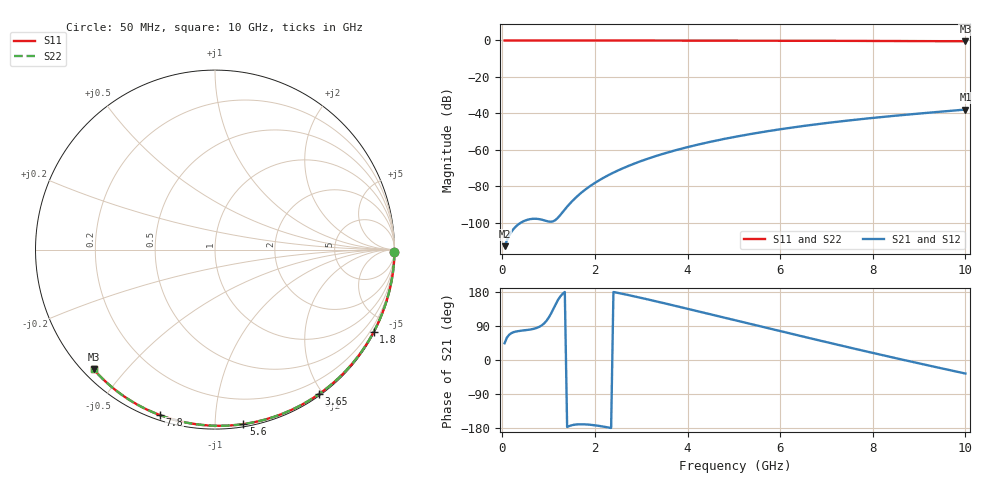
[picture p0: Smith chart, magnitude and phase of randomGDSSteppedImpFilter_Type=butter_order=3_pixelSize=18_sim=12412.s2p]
! freq	dB(S11)	phase(S11)	dB(S12)	phase(S12)
!  dB(S21)	phase(S21)	dB(S22)	phase(S22)
!S-par simulation data
#  GHz  S  DB  R 50
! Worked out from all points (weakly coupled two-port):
!   200 points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, 50 MHz to 10 GHz, reference 50 ohm
!   highest |S21| = -37.86 dB at 10 GHz (marker M1); lowest = -112.7 dB at 50 MHz (marker M2)
!   lowest |S11| = -0.4 dB at 10 GHz (marker M3), VSWR 38.68, Z = 1.51 - j20.5 ohm
!   |S11| at or under -10 dB: nowhere
!   |S22| runs from -0.4 to 0.0 dB; largest |S21 - S12| = 0
!   S11 on the Smith chart (normalised r, x): 50 MHz: open; 1.8 GHz: 0.04, -4.10; 3.65 GHz: 0.02, -1.95; 5.6 GHz: 0.02, -1.17; 7.8 GHz: 0.02, -0.72; 10 GHz: 0.03, -0.41
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0.05  -0.00 -0.8  -112.71 44.2  -112.71 44.2  -0.00 -0.8
0.85  -0.01 -13.1  -98.18 91.3  -98.18 91.3  -0.01 -13.1
1.75  -0.03 -26.7  -82.53 -169.7  -82.53 -169.7  -0.03 -26.7
1.8  -0.03 -27.4  -81.54 -169.9  -81.54 -169.9  -0.03 -27.4
1.85  -0.04 -28.2  -80.61 -170.4  -80.61 -170.4  -0.04 -28.2
1.9  -0.04 -28.9  -79.72 -170.9  -79.72 -170.9  -0.04 -28.9
2.05  -0.04 -31.1  -77.25 -173.2  -77.25 -173.2  -0.04 -31.2
2.25  -0.04 -34.1  -74.35 -177.1  -74.35 -177.1  -0.04 -34.1
2.45  -0.05 -37.1  -71.80 178.3  -71.80 178.3  -0.05 -37.1
2.65  -0.05 -40.0  -69.53 173.2  -69.53 173.2  -0.05 -40.0
3  -0.06 -45.1  -66.05 163.9  -66.05 163.9  -0.06 -45.1
3.4  -0.07 -50.8  -62.67 152.6  -62.67 152.6  -0.07 -50.8
3.65  -0.07 -54.3  -60.81 145.4  -60.81 145.4  -0.07 -54.4
4.3  -0.09 -63.4  -56.62 126.3  -56.62 126.3  -0.09 -63.4
5.05  -0.11 -73.5  -52.69 104.2  -52.69 104.2  -0.11 -73.6
5.6  -0.13 -80.8  -50.26 88.0  -50.26 88.0  -0.13 -80.8
6.15  -0.15 -87.9  -48.11 71.9  -48.11 71.9  -0.16 -87.9
6.7  -0.18 -94.9  -46.20 55.9  -46.20 55.9  -0.18 -94.9
7.8  -0.25 -108.4  -42.97 24.3  -42.97 24.3  -0.25 -108.5
8.35  -0.29 -115.1  -41.57 8.9  -41.57 8.9  -0.29 -115.1
9.2  -0.36 -125.4  -39.60 -14.3  -39.60 -14.3  -0.36 -125.5
10  -0.45 -135.4  -37.86 -35.7  -37.86 -35.7  -0.45 -135.4
